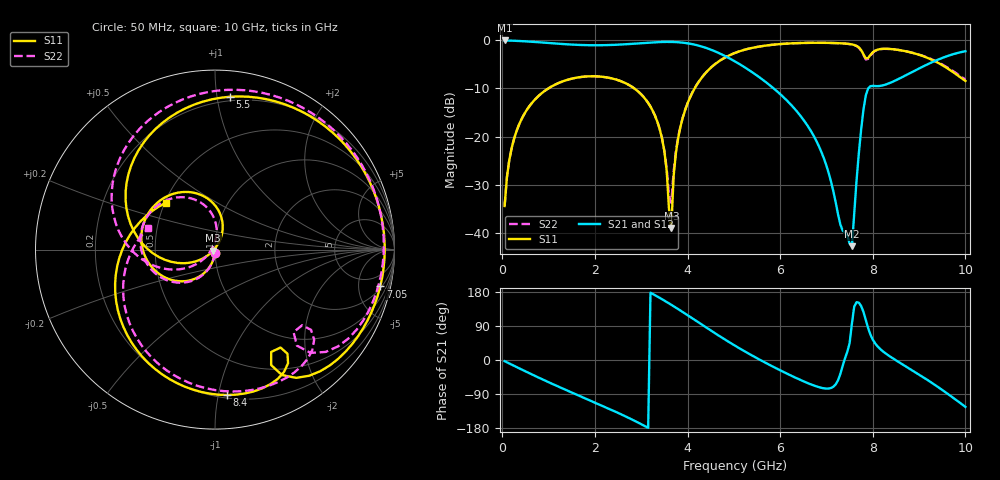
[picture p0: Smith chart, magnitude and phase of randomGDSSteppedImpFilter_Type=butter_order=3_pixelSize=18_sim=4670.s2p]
! freq	dB(S11)	phase(S11)	dB(S12)	phase(S12)
!  dB(S21)	phase(S21)	dB(S22)	phase(S22)
!S-par simulation data
#  GHz  S  DB  R 50
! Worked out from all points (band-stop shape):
!   200 points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, 50 MHz to 10 GHz, reference 50 ohm
!   highest |S21| = 0.00 dB at 50 MHz (marker M1); lowest = -42.8 dB at 7.55 GHz (marker M2)
!   |S21| within 3 dB of the highest: start of sweep to 4.759 GHz; 9.69 GHz to end of sweep
!   lowest |S11| = -39.0 dB at 3.65 GHz (marker M3), VSWR 1.02, Z = 49 - j0.501 ohm
!   |S11| at or under -10 dB: start of sweep to 992.3 MHz; 2.852 GHz to 4.153 GHz (1.301 GHz wide, 37.1 % of centre)
!   |S22| runs from -34.5 to -0.5 dB; largest |S21 - S12| = 0
!   S11 on the Smith chart (normalised r, x): 50 MHz: 1.00, -0.04; 5.5 GHz: 0.17, +1.09; 7.05 GHz: 2.27, -8.47; 8.4 GHz: 0.22, -1.06; 10 GHz: 0.51, +0.31
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0.05  -34.46 -93.1  -0.00 -3.1  -0.00 -3.1  -34.46 -92.9
0.2  -22.50 -102.8  -0.05 -12.1  -0.05 -12.1  -22.50 -102.2
0.5  -14.91 -121.3  -0.19 -30.0  -0.19 -30.0  -14.91 -119.8
1.75  -7.55 167.7  -0.97 -99.0  -0.97 -99.0  -7.55 173.3
2.85  -9.98 105.0  -0.67 -160.0  -0.67 -160.0  -9.98 115.5
3.4  -18.51 69.0  -0.34 163.9  -0.34 163.9  -18.47 85.8
3.65  -39.05 -152.7  -0.31 145.7  -0.31 145.7  -33.79 -177.5
3.75  -23.34 -142.2  -0.35 138.0  -0.35 138.0  -23.01 -140.8
4  -13.11 -160.3  -0.60 118.3  -0.60 118.3  -13.06 -150.5
4.55  -5.28 155.0  -2.10 74.0  -2.10 74.0  -5.26 169.1
5.05  -2.51 116.3  -4.51 36.0  -4.51 36.0  -2.50 132.6
5.5  -1.35 84.3  -7.31 4.7  -7.31 4.7  -1.35 102.1
6.05  -0.72 48.4  -11.61 -30.2  -11.61 -30.2  -0.72 67.0
6.7  -0.49 8.5  -19.45 -66.0  -19.45 -66.0  -0.50 26.8
7.05  -0.51 -12.6  -27.66 -75.2  -27.66 -75.2  -0.52 5.0
7.55  -0.83 -45.2  -42.82 96.8  -42.82 96.8  -0.85 -29.4
7.7  -1.46 -57.7  -23.39 151.2  -23.39 151.2  -1.51 -42.7
7.85  -3.74 -61.2  -11.43 105.6  -11.43 105.6  -3.95 -46.4
8.35  -1.76 -81.8  -8.93 11.1  -8.93 11.1  -1.77 -68.4
8.4  -1.80 -85.2  -8.73 7.0  -8.73 7.0  -1.80 -72.0
9.25  -3.91 -148.0  -4.67 -58.2  -4.67 -58.2  -3.83 -135.4
10  -8.43 136.7  -2.24 -123.7  -2.24 -123.7  -8.16 162.3
